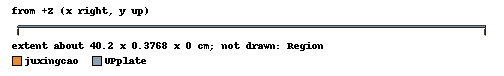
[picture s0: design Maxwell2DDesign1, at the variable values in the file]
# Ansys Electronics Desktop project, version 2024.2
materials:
  vacuum: permittivity=1
  copper: permeability=0.999991 conductivity=58000000
  air: permittivity=1.0006 permeability=1.0000004

design Maxwell2DDesign1 (Maxwell 2D, Electrostatic, XY geometry, model units cm)
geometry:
  juxingcao [copper] = rectangle(corner=(-0.1cm, -0.1cm, 0cm), x_size=40.2cm, y_size=20.1cm)
  Rectangle2 = rectangle(corner=(0cm, 0cm, 0cm), x_size=40cm, y_size=20cm)
  juxingcao.subtract(Rectangle2)
  UPplate [copper] = rectangle(corner=(-0.1cm, 20.1cm, 0cm), x_size=40.2cm, y_size=0.2cm)
  Region [air] = region(percentage_offset: +X=100, -X=100, +Y=100, -Y=100, +Z=0, -Z=0)
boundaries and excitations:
  Balloon1: Balloon Edges=Region.edge(all 4) IsOfTypeVoltage=false
  Voltage1: Voltage Objects=juxingcao Value=0V
  Voltage2: Voltage Objects=UPplate Value=100V
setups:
  Setup1: Electrostatic MaximumPasses=10 MinimumPasses=2 MinimumConvergedPasses=1 PercentRefinement=30 PercentError=1 NonLinearResidual=0.001
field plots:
  Voltage1: Voltage over juxingcao, UPplate, Region on Setup1 : LastAdaptive
  E_Vector1: E over Region on Setup1 : LastAdaptive
